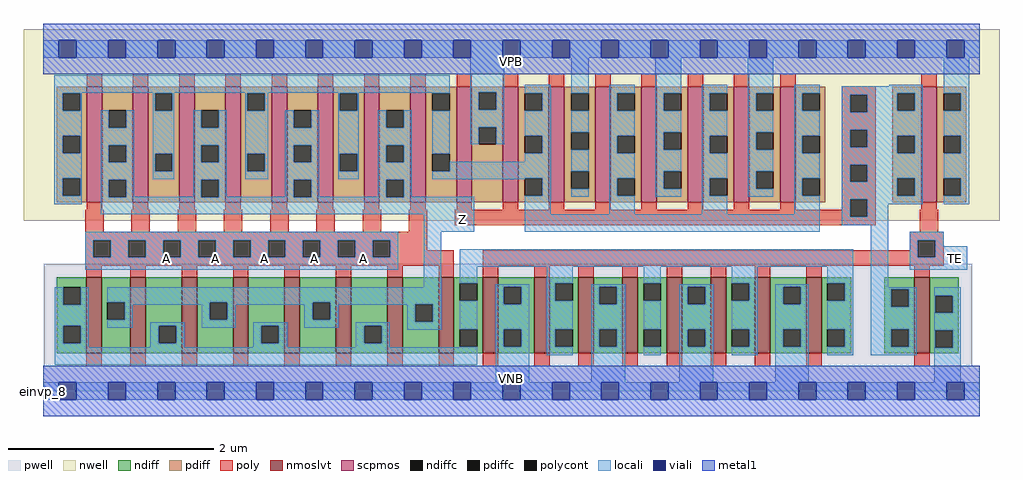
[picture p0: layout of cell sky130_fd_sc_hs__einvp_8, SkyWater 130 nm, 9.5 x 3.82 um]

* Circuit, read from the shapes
.subckt sky130_fd_sc_hs__einvp_8 A TE VGND VNB VPB VPWR Z
XM1 Z A n1 VNB sky130_fd_pr__nfet_01v8_lvt w=0.74 l=0.15 m=8
XM2 VGND TE n1 VNB sky130_fd_pr__nfet_01v8_lvt w=0.74 l=0.15 m=8
XM3 VGND TE n2 VNB sky130_fd_pr__nfet_01v8_lvt w=0.74 l=0.15
XM4 Z A n3 VPB sky130_fd_pr__pfet_01v8 w=1.12 l=0.15 m=8
XM5 VPWR n2 n3 VPB sky130_fd_pr__pfet_01v8 w=1.12 l=0.15 m=8
XM6 VPWR TE n2 VPB sky130_fd_pr__pfet_01v8 w=1.12 l=0.15
.ends

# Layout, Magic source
magic
tech sky130A
magscale 1 2
<< nwell >>
rect -38 332 1862 704
<< pwell >>
rect 1 49 1809 248
rect 0 0 1824 49
<< scpmos >>
rect 85 368 115 592
rect 175 368 205 592
rect 265 368 295 592
rect 355 368 385 592
rect 445 368 475 592
rect 535 368 565 592
rect 625 368 655 592
rect 715 368 745 592
rect 805 368 835 592
rect 895 368 925 592
rect 985 368 1015 592
rect 1075 368 1105 592
rect 1165 368 1195 592
rect 1255 368 1285 592
rect 1345 368 1375 592
rect 1435 368 1465 592
rect 1710 368 1740 592
<< nmoslvt >>
rect 84 74 114 222
rect 170 74 200 222
rect 270 74 300 222
rect 370 74 400 222
rect 470 74 500 222
rect 570 74 600 222
rect 670 74 700 222
rect 770 74 800 222
rect 856 74 886 222
rect 956 74 986 222
rect 1042 74 1072 222
rect 1128 74 1158 222
rect 1214 74 1244 222
rect 1300 74 1330 222
rect 1386 74 1416 222
rect 1486 74 1516 222
rect 1696 74 1726 222
<< ndiff >>
rect 27 202 84 222
rect 27 168 39 202
rect 73 168 84 202
rect 27 127 84 168
rect 27 93 39 127
rect 73 93 84 127
rect 27 74 84 93
rect 114 173 170 222
rect 114 139 125 173
rect 159 139 170 173
rect 114 74 170 139
rect 200 127 270 222
rect 200 93 225 127
rect 259 93 270 127
rect 200 74 270 93
rect 300 173 370 222
rect 300 139 325 173
rect 359 139 370 173
rect 300 74 370 139
rect 400 127 470 222
rect 400 93 425 127
rect 459 93 470 127
rect 400 74 470 93
rect 500 173 570 222
rect 500 139 525 173
rect 559 139 570 173
rect 500 74 570 139
rect 600 127 670 222
rect 600 93 625 127
rect 659 93 670 127
rect 600 74 670 93
rect 700 169 770 222
rect 700 135 725 169
rect 759 135 770 169
rect 700 74 770 135
rect 800 210 856 222
rect 800 176 811 210
rect 845 176 856 210
rect 800 120 856 176
rect 800 86 811 120
rect 845 86 856 120
rect 800 74 856 86
rect 886 203 956 222
rect 886 169 897 203
rect 931 169 956 203
rect 886 120 956 169
rect 886 86 897 120
rect 931 86 956 120
rect 886 74 956 86
rect 986 210 1042 222
rect 986 176 997 210
rect 1031 176 1042 210
rect 986 120 1042 176
rect 986 86 997 120
rect 1031 86 1042 120
rect 986 74 1042 86
rect 1072 203 1128 222
rect 1072 169 1083 203
rect 1117 169 1128 203
rect 1072 120 1128 169
rect 1072 86 1083 120
rect 1117 86 1128 120
rect 1072 74 1128 86
rect 1158 210 1214 222
rect 1158 176 1169 210
rect 1203 176 1214 210
rect 1158 120 1214 176
rect 1158 86 1169 120
rect 1203 86 1214 120
rect 1158 74 1214 86
rect 1244 203 1300 222
rect 1244 169 1255 203
rect 1289 169 1300 203
rect 1244 120 1300 169
rect 1244 86 1255 120
rect 1289 86 1300 120
rect 1244 74 1300 86
rect 1330 210 1386 222
rect 1330 176 1341 210
rect 1375 176 1386 210
rect 1330 120 1386 176
rect 1330 86 1341 120
rect 1375 86 1386 120
rect 1330 74 1386 86
rect 1416 203 1486 222
rect 1416 169 1441 203
rect 1475 169 1486 203
rect 1416 120 1486 169
rect 1416 86 1441 120
rect 1475 86 1486 120
rect 1416 74 1486 86
rect 1516 210 1573 222
rect 1516 176 1527 210
rect 1561 176 1573 210
rect 1516 120 1573 176
rect 1516 86 1527 120
rect 1561 86 1573 120
rect 1516 74 1573 86
rect 1638 198 1696 222
rect 1638 164 1651 198
rect 1685 164 1696 198
rect 1638 120 1696 164
rect 1638 86 1651 120
rect 1685 86 1696 120
rect 1638 74 1696 86
rect 1726 186 1783 222
rect 1726 152 1737 186
rect 1771 152 1783 186
rect 1726 118 1783 152
rect 1726 84 1737 118
rect 1771 84 1783 118
rect 1726 74 1783 84
<< pdiff >>
rect 27 580 85 592
rect 27 546 38 580
rect 72 546 85 580
rect 27 497 85 546
rect 27 463 38 497
rect 72 463 85 497
rect 27 414 85 463
rect 27 380 38 414
rect 72 380 85 414
rect 27 368 85 380
rect 115 547 175 592
rect 115 513 128 547
rect 162 513 175 547
rect 115 479 175 513
rect 115 445 128 479
rect 162 445 175 479
rect 115 411 175 445
rect 115 377 128 411
rect 162 377 175 411
rect 115 368 175 377
rect 205 580 265 592
rect 205 546 218 580
rect 252 546 265 580
rect 205 462 265 546
rect 205 428 218 462
rect 252 428 265 462
rect 205 368 265 428
rect 295 547 355 592
rect 295 513 308 547
rect 342 513 355 547
rect 295 479 355 513
rect 295 445 308 479
rect 342 445 355 479
rect 295 411 355 445
rect 295 377 308 411
rect 342 377 355 411
rect 295 368 355 377
rect 385 580 445 592
rect 385 546 398 580
rect 432 546 445 580
rect 385 462 445 546
rect 385 428 398 462
rect 432 428 445 462
rect 385 368 445 428
rect 475 547 535 592
rect 475 513 488 547
rect 522 513 535 547
rect 475 479 535 513
rect 475 445 488 479
rect 522 445 535 479
rect 475 411 535 445
rect 475 377 488 411
rect 522 377 535 411
rect 475 368 535 377
rect 565 580 625 592
rect 565 546 578 580
rect 612 546 625 580
rect 565 462 625 546
rect 565 428 578 462
rect 612 428 625 462
rect 565 368 625 428
rect 655 547 715 592
rect 655 513 668 547
rect 702 513 715 547
rect 655 479 715 513
rect 655 445 668 479
rect 702 445 715 479
rect 655 411 715 445
rect 655 377 668 411
rect 702 377 715 411
rect 655 368 715 377
rect 745 580 805 592
rect 745 546 758 580
rect 792 546 805 580
rect 745 462 805 546
rect 745 428 758 462
rect 792 428 805 462
rect 745 368 805 428
rect 835 582 895 592
rect 835 548 848 582
rect 882 548 895 582
rect 835 514 895 548
rect 835 480 848 514
rect 882 480 895 514
rect 835 368 895 480
rect 925 580 985 592
rect 925 546 938 580
rect 972 546 985 580
rect 925 497 985 546
rect 925 463 938 497
rect 972 463 985 497
rect 925 414 985 463
rect 925 380 938 414
rect 972 380 985 414
rect 925 368 985 380
rect 1015 580 1075 592
rect 1015 546 1028 580
rect 1062 546 1075 580
rect 1015 504 1075 546
rect 1015 470 1028 504
rect 1062 470 1075 504
rect 1015 428 1075 470
rect 1015 394 1028 428
rect 1062 394 1075 428
rect 1015 368 1075 394
rect 1105 580 1165 592
rect 1105 546 1118 580
rect 1152 546 1165 580
rect 1105 497 1165 546
rect 1105 463 1118 497
rect 1152 463 1165 497
rect 1105 414 1165 463
rect 1105 380 1118 414
rect 1152 380 1165 414
rect 1105 368 1165 380
rect 1195 580 1255 592
rect 1195 546 1208 580
rect 1242 546 1255 580
rect 1195 504 1255 546
rect 1195 470 1208 504
rect 1242 470 1255 504
rect 1195 428 1255 470
rect 1195 394 1208 428
rect 1242 394 1255 428
rect 1195 368 1255 394
rect 1285 580 1345 592
rect 1285 546 1298 580
rect 1332 546 1345 580
rect 1285 497 1345 546
rect 1285 463 1298 497
rect 1332 463 1345 497
rect 1285 414 1345 463
rect 1285 380 1298 414
rect 1332 380 1345 414
rect 1285 368 1345 380
rect 1375 580 1435 592
rect 1375 546 1388 580
rect 1422 546 1435 580
rect 1375 504 1435 546
rect 1375 470 1388 504
rect 1422 470 1435 504
rect 1375 428 1435 470
rect 1375 394 1388 428
rect 1422 394 1435 428
rect 1375 368 1435 394
rect 1465 580 1523 592
rect 1465 546 1478 580
rect 1512 546 1523 580
rect 1465 497 1523 546
rect 1465 463 1478 497
rect 1512 463 1523 497
rect 1465 414 1523 463
rect 1465 380 1478 414
rect 1512 380 1523 414
rect 1465 368 1523 380
rect 1653 580 1710 592
rect 1653 546 1663 580
rect 1697 546 1710 580
rect 1653 497 1710 546
rect 1653 463 1663 497
rect 1697 463 1710 497
rect 1653 414 1710 463
rect 1653 380 1663 414
rect 1697 380 1710 414
rect 1653 368 1710 380
rect 1740 580 1797 592
rect 1740 546 1753 580
rect 1787 546 1797 580
rect 1740 497 1797 546
rect 1740 463 1753 497
rect 1787 463 1797 497
rect 1740 414 1797 463
rect 1740 380 1753 414
rect 1787 380 1797 414
rect 1740 368 1797 380
<< ndiffc >>
rect 39 168 73 202
rect 39 93 73 127
rect 125 139 159 173
rect 225 93 259 127
rect 325 139 359 173
rect 425 93 459 127
rect 525 139 559 173
rect 625 93 659 127
rect 725 135 759 169
rect 811 176 845 210
rect 811 86 845 120
rect 897 169 931 203
rect 897 86 931 120
rect 997 176 1031 210
rect 997 86 1031 120
rect 1083 169 1117 203
rect 1083 86 1117 120
rect 1169 176 1203 210
rect 1169 86 1203 120
rect 1255 169 1289 203
rect 1255 86 1289 120
rect 1341 176 1375 210
rect 1341 86 1375 120
rect 1441 169 1475 203
rect 1441 86 1475 120
rect 1527 176 1561 210
rect 1527 86 1561 120
rect 1651 164 1685 198
rect 1651 86 1685 120
rect 1737 152 1771 186
rect 1737 84 1771 118
<< pdiffc >>
rect 38 546 72 580
rect 38 463 72 497
rect 38 380 72 414
rect 128 513 162 547
rect 128 445 162 479
rect 128 377 162 411
rect 218 546 252 580
rect 218 428 252 462
rect 308 513 342 547
rect 308 445 342 479
rect 308 377 342 411
rect 398 546 432 580
rect 398 428 432 462
rect 488 513 522 547
rect 488 445 522 479
rect 488 377 522 411
rect 578 546 612 580
rect 578 428 612 462
rect 668 513 702 547
rect 668 445 702 479
rect 668 377 702 411
rect 758 546 792 580
rect 758 428 792 462
rect 848 548 882 582
rect 848 480 882 514
rect 938 546 972 580
rect 938 463 972 497
rect 938 380 972 414
rect 1028 546 1062 580
rect 1028 470 1062 504
rect 1028 394 1062 428
rect 1118 546 1152 580
rect 1118 463 1152 497
rect 1118 380 1152 414
rect 1208 546 1242 580
rect 1208 470 1242 504
rect 1208 394 1242 428
rect 1298 546 1332 580
rect 1298 463 1332 497
rect 1298 380 1332 414
rect 1388 546 1422 580
rect 1388 470 1422 504
rect 1388 394 1422 428
rect 1478 546 1512 580
rect 1478 463 1512 497
rect 1478 380 1512 414
rect 1663 546 1697 580
rect 1663 463 1697 497
rect 1663 380 1697 414
rect 1753 546 1787 580
rect 1753 463 1787 497
rect 1753 380 1787 414
<< poly >>
rect 85 592 115 618
rect 175 592 205 618
rect 265 592 295 618
rect 355 592 385 618
rect 445 592 475 618
rect 535 592 565 618
rect 625 592 655 618
rect 715 592 745 618
rect 805 592 835 618
rect 895 592 925 618
rect 985 592 1015 618
rect 1075 592 1105 618
rect 1165 592 1195 618
rect 1255 592 1285 618
rect 1345 592 1375 618
rect 1435 592 1465 618
rect 1555 577 1621 593
rect 1710 592 1740 618
rect 1555 543 1571 577
rect 1605 543 1621 577
rect 1555 509 1621 543
rect 1555 475 1571 509
rect 1605 475 1621 509
rect 1555 441 1621 475
rect 1555 407 1571 441
rect 1605 407 1621 441
rect 1555 373 1621 407
rect 85 353 115 368
rect 175 353 205 368
rect 265 353 295 368
rect 355 353 385 368
rect 445 353 475 368
rect 535 353 565 368
rect 625 353 655 368
rect 715 353 745 368
rect 805 353 835 368
rect 895 353 925 368
rect 985 353 1015 368
rect 1075 353 1105 368
rect 1165 353 1195 368
rect 1255 353 1285 368
rect 1345 353 1375 368
rect 1435 353 1465 368
rect 1555 353 1571 373
rect 82 310 118 353
rect 172 310 208 353
rect 262 310 298 353
rect 352 310 388 353
rect 442 310 478 353
rect 532 310 568 353
rect 622 310 658 353
rect 712 310 748 353
rect 802 339 1571 353
rect 1605 339 1621 373
rect 1710 353 1740 368
rect 802 323 1621 339
rect 1707 310 1743 353
rect 82 294 748 310
rect 82 260 98 294
rect 132 260 166 294
rect 200 260 234 294
rect 268 260 302 294
rect 336 260 370 294
rect 404 260 438 294
rect 472 260 506 294
rect 540 260 574 294
rect 608 260 642 294
rect 676 274 748 294
rect 1687 294 1753 310
rect 1687 274 1703 294
rect 676 260 800 274
rect 82 244 800 260
rect 84 222 114 244
rect 170 222 200 244
rect 270 222 300 244
rect 370 222 400 244
rect 470 222 500 244
rect 570 222 600 244
rect 670 222 700 244
rect 770 222 800 244
rect 856 260 1703 274
rect 1737 260 1753 294
rect 856 244 1753 260
rect 856 222 886 244
rect 956 222 986 244
rect 1042 222 1072 244
rect 1128 222 1158 244
rect 1214 222 1244 244
rect 1300 222 1330 244
rect 1386 222 1416 244
rect 1486 222 1516 244
rect 1696 222 1726 244
rect 84 48 114 74
rect 170 48 200 74
rect 270 48 300 74
rect 370 48 400 74
rect 470 48 500 74
rect 570 48 600 74
rect 670 48 700 74
rect 770 48 800 74
rect 856 48 886 74
rect 956 48 986 74
rect 1042 48 1072 74
rect 1128 48 1158 74
rect 1214 48 1244 74
rect 1300 48 1330 74
rect 1386 48 1416 74
rect 1486 48 1516 74
rect 1696 48 1726 74
<< polycont >>
rect 1571 543 1605 577
rect 1571 475 1605 509
rect 1571 407 1605 441
rect 1571 339 1605 373
rect 98 260 132 294
rect 166 260 200 294
rect 234 260 268 294
rect 302 260 336 294
rect 370 260 404 294
rect 438 260 472 294
rect 506 260 540 294
rect 574 260 608 294
rect 642 260 676 294
rect 1703 260 1737 294
<< locali >>
rect 0 649 31 683
rect 65 649 127 683
rect 161 649 223 683
rect 257 649 319 683
rect 353 649 415 683
rect 449 649 511 683
rect 545 649 607 683
rect 641 649 703 683
rect 737 649 799 683
rect 833 649 895 683
rect 929 649 991 683
rect 1025 649 1087 683
rect 1121 649 1183 683
rect 1217 649 1279 683
rect 1313 649 1375 683
rect 1409 649 1471 683
rect 1505 649 1567 683
rect 1601 649 1663 683
rect 1697 649 1759 683
rect 1793 649 1824 683
rect 22 581 792 615
rect 22 580 75 581
rect 22 546 38 580
rect 72 546 75 580
rect 214 580 255 581
rect 22 497 75 546
rect 22 463 38 497
rect 72 463 75 497
rect 22 414 75 463
rect 22 380 38 414
rect 72 380 75 414
rect 22 364 75 380
rect 112 513 128 547
rect 162 513 178 547
rect 112 479 178 513
rect 112 445 128 479
rect 162 445 178 479
rect 112 411 178 445
rect 214 546 218 580
rect 252 546 255 580
rect 394 580 438 581
rect 214 462 255 546
rect 214 428 218 462
rect 252 428 255 462
rect 214 412 255 428
rect 292 513 308 547
rect 342 513 358 547
rect 292 479 358 513
rect 292 445 308 479
rect 342 445 358 479
rect 112 377 128 411
rect 162 378 178 411
rect 292 411 358 445
rect 394 546 398 580
rect 432 546 438 580
rect 575 580 615 581
rect 394 462 438 546
rect 394 428 398 462
rect 432 428 438 462
rect 394 412 438 428
rect 472 513 488 547
rect 522 513 538 547
rect 472 479 538 513
rect 472 445 488 479
rect 522 445 538 479
rect 292 378 308 411
rect 162 377 308 378
rect 342 378 358 411
rect 472 411 538 445
rect 575 546 578 580
rect 612 546 615 580
rect 758 580 792 581
rect 575 462 615 546
rect 575 428 578 462
rect 612 428 615 462
rect 575 412 615 428
rect 652 513 668 547
rect 702 513 718 547
rect 652 479 718 513
rect 652 445 668 479
rect 702 445 718 479
rect 472 378 488 411
rect 342 377 488 378
rect 522 378 538 411
rect 652 411 718 445
rect 758 462 792 546
rect 832 582 898 649
rect 832 548 848 582
rect 882 548 898 582
rect 832 514 898 548
rect 832 480 848 514
rect 882 480 898 514
rect 938 580 988 596
rect 972 546 988 580
rect 938 497 988 546
rect 972 463 988 497
rect 938 446 988 463
rect 792 428 988 446
rect 758 414 988 428
rect 758 412 938 414
rect 652 378 668 411
rect 522 377 668 378
rect 702 378 718 411
rect 972 380 988 414
rect 702 377 839 378
rect 112 344 839 377
rect 741 310 839 344
rect 938 344 988 380
rect 1028 580 1062 649
rect 1028 504 1062 546
rect 1028 428 1062 470
rect 1028 378 1062 394
rect 1102 580 1152 596
rect 1102 546 1118 580
rect 1102 497 1152 546
rect 1102 463 1118 497
rect 1102 414 1152 463
rect 1102 380 1118 414
rect 1102 344 1152 380
rect 1192 580 1242 649
rect 1192 546 1208 580
rect 1192 504 1242 546
rect 1192 470 1208 504
rect 1192 428 1242 470
rect 1192 394 1208 428
rect 1192 378 1242 394
rect 1282 580 1332 596
rect 1282 546 1298 580
rect 1282 497 1332 546
rect 1282 463 1298 497
rect 1282 414 1332 463
rect 1282 380 1298 414
rect 1282 344 1332 380
rect 1372 580 1422 649
rect 1372 546 1388 580
rect 1372 504 1422 546
rect 1372 470 1388 504
rect 1372 428 1422 470
rect 1372 394 1388 428
rect 1372 378 1422 394
rect 1462 580 1512 596
rect 1647 593 1713 596
rect 1462 546 1478 580
rect 1462 497 1512 546
rect 1462 463 1478 497
rect 1462 414 1512 463
rect 1462 380 1478 414
rect 1462 344 1512 380
rect 938 310 1512 344
rect 1555 580 1713 593
rect 1555 577 1663 580
rect 1555 543 1571 577
rect 1605 546 1663 577
rect 1697 546 1713 580
rect 1605 543 1713 546
rect 1555 509 1713 543
rect 1555 475 1571 509
rect 1605 497 1713 509
rect 1605 475 1663 497
rect 1555 463 1663 475
rect 1697 463 1713 497
rect 1555 441 1713 463
rect 1555 407 1571 441
rect 1605 414 1713 441
rect 1605 407 1663 414
rect 1555 380 1663 407
rect 1697 380 1713 414
rect 1555 373 1713 380
rect 1555 339 1571 373
rect 1605 364 1713 373
rect 1753 580 1803 649
rect 1787 546 1803 580
rect 1753 497 1803 546
rect 1787 463 1803 497
rect 1753 414 1803 463
rect 1787 380 1803 414
rect 1753 364 1803 380
rect 1605 339 1645 364
rect 1555 323 1645 339
rect 82 294 692 310
rect 82 260 98 294
rect 132 260 166 294
rect 200 260 234 294
rect 268 260 302 294
rect 336 260 370 294
rect 404 260 438 294
rect 472 260 506 294
rect 540 260 574 294
rect 608 260 642 294
rect 676 260 692 294
rect 82 236 692 260
rect 741 202 775 310
rect 23 168 39 202
rect 73 168 89 202
rect 23 127 89 168
rect 23 93 39 127
rect 73 93 89 127
rect 125 173 775 202
rect 159 168 325 173
rect 159 139 175 168
rect 125 123 175 139
rect 309 139 325 168
rect 359 168 525 173
rect 359 139 375 168
rect 209 127 275 134
rect 23 85 89 93
rect 209 93 225 127
rect 259 93 275 127
rect 309 123 375 139
rect 509 139 525 168
rect 559 169 775 173
rect 559 168 725 169
rect 559 139 575 168
rect 409 127 475 134
rect 209 85 275 93
rect 409 93 425 127
rect 459 93 475 127
rect 509 123 575 139
rect 709 135 725 168
rect 759 135 775 169
rect 609 127 675 134
rect 409 85 475 93
rect 609 93 625 127
rect 659 93 675 127
rect 709 119 775 135
rect 811 242 1577 276
rect 811 210 845 242
rect 981 210 1031 242
rect 811 120 845 176
rect 609 85 675 93
rect 811 85 845 86
rect 23 51 845 85
rect 881 203 947 208
rect 881 169 897 203
rect 931 169 947 203
rect 881 120 947 169
rect 881 86 897 120
rect 931 86 947 120
rect 881 17 947 86
rect 981 176 997 210
rect 1169 210 1203 242
rect 981 120 1031 176
rect 981 86 997 120
rect 981 70 1031 86
rect 1067 203 1133 208
rect 1067 169 1083 203
rect 1117 169 1133 203
rect 1067 120 1133 169
rect 1067 86 1083 120
rect 1117 86 1133 120
rect 1067 17 1133 86
rect 1341 210 1391 242
rect 1169 120 1203 176
rect 1169 70 1203 86
rect 1239 203 1305 208
rect 1239 169 1255 203
rect 1289 169 1305 203
rect 1239 120 1305 169
rect 1239 86 1255 120
rect 1289 86 1305 120
rect 1239 17 1305 86
rect 1375 176 1391 210
rect 1527 210 1577 242
rect 1341 120 1391 176
rect 1375 86 1391 120
rect 1341 70 1391 86
rect 1425 203 1491 208
rect 1425 169 1441 203
rect 1475 169 1491 203
rect 1425 120 1491 169
rect 1425 86 1441 120
rect 1475 86 1491 120
rect 1425 17 1491 86
rect 1561 176 1577 210
rect 1527 120 1577 176
rect 1561 86 1577 120
rect 1527 70 1577 86
rect 1611 202 1645 323
rect 1687 294 1753 310
rect 1687 260 1703 294
rect 1737 282 1753 294
rect 1737 260 1799 282
rect 1687 236 1799 260
rect 1611 198 1701 202
rect 1611 164 1651 198
rect 1685 164 1701 198
rect 1611 120 1701 164
rect 1611 86 1651 120
rect 1685 86 1701 120
rect 1611 70 1701 86
rect 1735 186 1787 202
rect 1735 152 1737 186
rect 1771 152 1787 186
rect 1735 118 1787 152
rect 1735 84 1737 118
rect 1771 84 1787 118
rect 1735 17 1787 84
rect 0 -17 31 17
rect 65 -17 127 17
rect 161 -17 223 17
rect 257 -17 319 17
rect 353 -17 415 17
rect 449 -17 511 17
rect 545 -17 607 17
rect 641 -17 703 17
rect 737 -17 799 17
rect 833 -17 895 17
rect 929 -17 991 17
rect 1025 -17 1087 17
rect 1121 -17 1183 17
rect 1217 -17 1279 17
rect 1313 -17 1375 17
rect 1409 -17 1471 17
rect 1505 -17 1567 17
rect 1601 -17 1663 17
rect 1697 -17 1759 17
rect 1793 -17 1824 17
<< viali >>
rect 31 649 65 683
rect 127 649 161 683
rect 223 649 257 683
rect 319 649 353 683
rect 415 649 449 683
rect 511 649 545 683
rect 607 649 641 683
rect 703 649 737 683
rect 799 649 833 683
rect 895 649 929 683
rect 991 649 1025 683
rect 1087 649 1121 683
rect 1183 649 1217 683
rect 1279 649 1313 683
rect 1375 649 1409 683
rect 1471 649 1505 683
rect 1567 649 1601 683
rect 1663 649 1697 683
rect 1759 649 1793 683
rect 31 -17 65 17
rect 127 -17 161 17
rect 223 -17 257 17
rect 319 -17 353 17
rect 415 -17 449 17
rect 511 -17 545 17
rect 607 -17 641 17
rect 703 -17 737 17
rect 799 -17 833 17
rect 895 -17 929 17
rect 991 -17 1025 17
rect 1087 -17 1121 17
rect 1183 -17 1217 17
rect 1279 -17 1313 17
rect 1375 -17 1409 17
rect 1471 -17 1505 17
rect 1567 -17 1601 17
rect 1663 -17 1697 17
rect 1759 -17 1793 17
<< metal1 >>
rect 0 683 1824 715
rect 0 649 31 683
rect 65 649 127 683
rect 161 649 223 683
rect 257 649 319 683
rect 353 649 415 683
rect 449 649 511 683
rect 545 649 607 683
rect 641 649 703 683
rect 737 649 799 683
rect 833 649 895 683
rect 929 649 991 683
rect 1025 649 1087 683
rect 1121 649 1183 683
rect 1217 649 1279 683
rect 1313 649 1375 683
rect 1409 649 1471 683
rect 1505 649 1567 683
rect 1601 649 1663 683
rect 1697 649 1759 683
rect 1793 649 1824 683
rect 0 617 1824 649
rect 0 17 1824 49
rect 0 -17 31 17
rect 65 -17 127 17
rect 161 -17 223 17
rect 257 -17 319 17
rect 353 -17 415 17
rect 449 -17 511 17
rect 545 -17 607 17
rect 641 -17 703 17
rect 737 -17 799 17
rect 833 -17 895 17
rect 929 -17 991 17
rect 1025 -17 1087 17
rect 1121 -17 1183 17
rect 1217 -17 1279 17
rect 1313 -17 1375 17
rect 1409 -17 1471 17
rect 1505 -17 1567 17
rect 1601 -17 1663 17
rect 1697 -17 1759 17
rect 1793 -17 1824 17
rect 0 -49 1824 -17
<< labels >>
rlabel comment s 0 0 0 0 4 einvp_8
flabel pwell s 0 0 1824 49 0 FreeSans 200 0 0 0 VNB
port 4 nsew ground bidirectional
flabel nwell s 0 617 1824 666 0 FreeSans 200 0 0 0 VPB
port 5 nsew power bidirectional
flabel metal1 s 0 617 1824 666 0 FreeSans 340 0 0 0 VPWR
port 6 nsew power bidirectional
flabel metal1 s 0 0 1824 49 0 FreeSans 340 0 0 0 VGND
port 3 nsew ground bidirectional
flabel locali s 799 316 833 350 0 FreeSans 340 0 0 0 Z
port 7 nsew signal output
flabel locali s 1759 242 1793 276 0 FreeSans 340 0 0 0 TE
port 2 nsew signal input
flabel locali s 223 242 257 276 0 FreeSans 340 0 0 0 A
port 1 nsew signal input
flabel locali s 319 242 353 276 0 FreeSans 340 0 0 0 A
port 1 nsew signal input
flabel locali s 415 242 449 276 0 FreeSans 340 0 0 0 A
port 1 nsew signal input
flabel locali s 511 242 545 276 0 FreeSans 340 0 0 0 A
port 1 nsew signal input
flabel locali s 607 242 641 276 0 FreeSans 340 0 0 0 A
port 1 nsew signal input
<< properties >>
string LEFsite unit
string LEFclass CORE
string FIXED_BBOX 0 0 1824 666
string GDS_FILE $PDKPATH/libs.ref/sky130_fd_sc_hs/gds/sky130_fd_sc_hs.gds
string LEFsymmetry X Y
string GDS_END 1913200
string GDS_START 1898880
<< end >>
